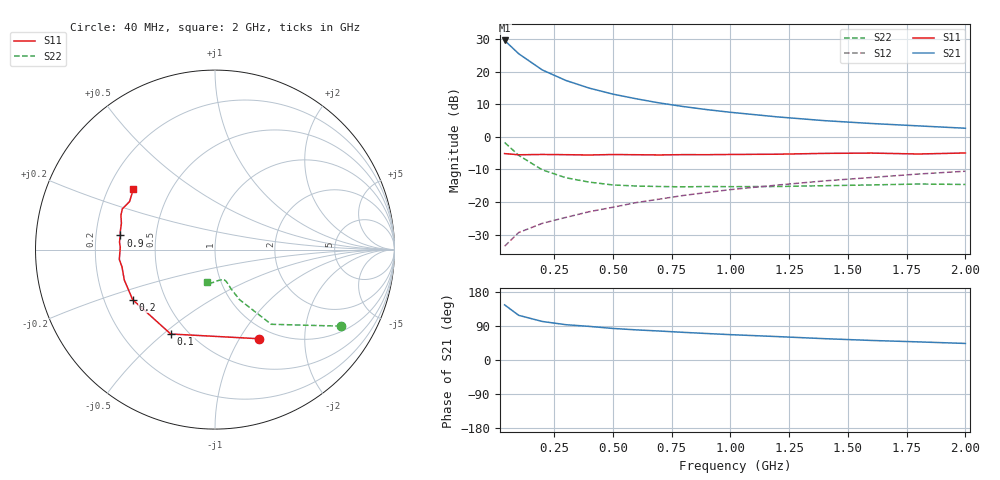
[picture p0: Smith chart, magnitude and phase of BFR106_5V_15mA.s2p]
! Filename:  BFR106A.S2P  Version:  2.0
! Philips part #: BFR106  Date: Jun 1990
! Bias condition: Vce=5V, Ic=15mA
#  MHz  S  MA  R  50
! Freq  S11  S21  S12  S22  !GUM [dB]
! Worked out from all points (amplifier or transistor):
!   16 points, 40 MHz to 2 GHz, reference 50 ohm
!   highest |S21| = 29.6 dB at 40 MHz (marker M1)
!   |S21| within 3 dB of that: start of sweep to 84.08 MHz
!   unconditionally stable (mu >= 1): 452.4 MHz to 1.557 GHz; 1.746 GHz to 1.814 GHz
!   at 200 MHz: K = 0.73, MSG = 23.6 dB, |S12| = -26.6 dB
!   at 800 MHz: K = 1.06, MAG = 12.2 dB, |S12| = -18.0 dB
!   at 2 GHz: K = 0.98, MSG = 6.6 dB, |S12| = -10.5 dB
!   S11 on the Smith chart (normalised r, x): 40 MHz: 0.85, -1.22; 100 MHz: 0.40, -0.53; 200 MHz: 0.32, -0.25; 900 MHz: 0.31, +0.07; 2 GHz: 0.30, +0.30
40  0.554 -63.7  30.21 145.5  0.021 66.1  0.821 -31.3
100  0.531 -117.7  18.88 117.9  0.034 53.4  0.521 -53.0
200  0.537 -148.7  10.67 101.7  0.047 55.4  0.312 -63.8
300  0.533 -161.5  7.361 93.2  0.058 58.4  0.236 -67.8
400  0.527 -169.5  5.605 88.7  0.071 62.0  0.202 -69.4
500  0.536 -174.2  4.538 83.3  0.083 64.4  0.183 -71.3
600  0.532 -176.7  3.844 79.5  0.098 66.2  0.176 -73.2
700  0.528 178.7  3.311 76.4  0.111 67.2  0.173 -74.5
800  0.534 175.4  2.922 73.0  0.126 68.2  0.171 -75.3
900  0.533 171.5  2.623 69.9  0.14 69.3  0.173 -76.2
1000  0.537 169.4  2.386 66.9  0.155 68.3  0.172 -78.2
1200  0.542 164.2  2.028 61.8  0.182 68.0  0.173 -83.3
1400  0.558 159.9  1.775 56.3  0.211 67.6  0.178 -88.8
1600  0.564 156.3  1.605 51.6  0.238 67.3  0.183 -92.9
1800  0.546 150.6  1.475 47.8  0.269 66.0  0.189 -98.1
2000  0.566 143.6  1.357 43.7  0.297 65.1  0.186 -104.2
